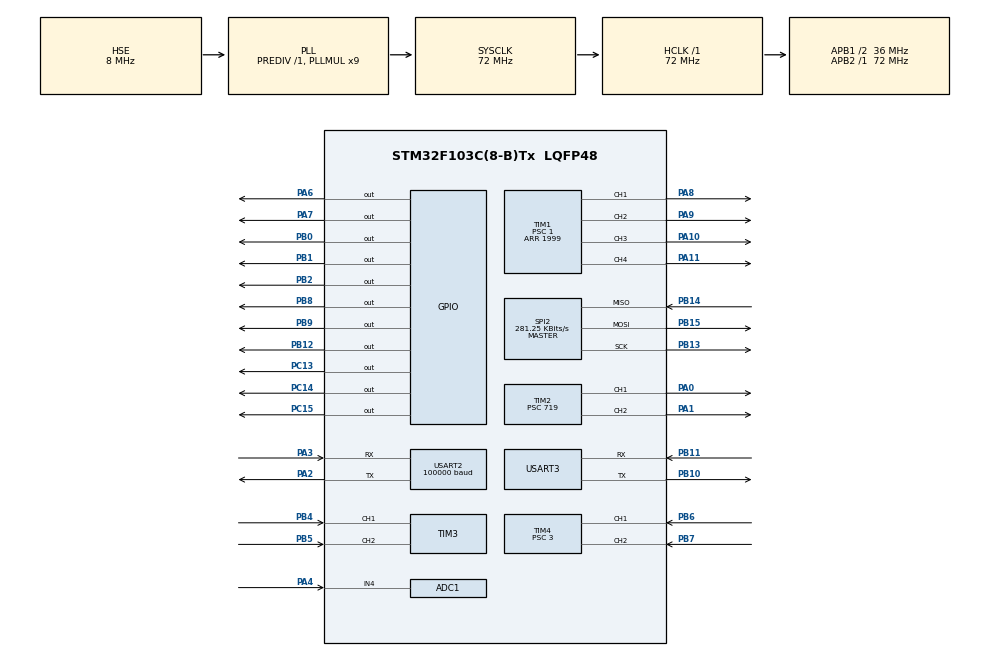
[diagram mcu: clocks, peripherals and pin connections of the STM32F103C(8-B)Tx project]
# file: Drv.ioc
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ADC1.Channel-0\#ChannelRegularConversion=ADC_CHANNEL_4
ADC1.Channel-1\#ChannelRegularConversion=ADC_CHANNEL_TEMPSENSOR
ADC1.ContinuousConvMode=ENABLE
ADC1.DiscontinuousConvMode=DISABLE
ADC1.EnableInjectedConversion=DISABLE
ADC1.NbrOfConversion=2
ADC1.NbrOfConversionFlag=1
ADC1.Rank-0\#ChannelRegularConversion=1
ADC1.Rank-1\#ChannelRegularConversion=2
ADC1.SamplingTime-0\#ChannelRegularConversion=ADC_SAMPLETIME_13CYCLES_5
ADC1.SamplingTime-1\#ChannelRegularConversion=ADC_SAMPLETIME_239CYCLES_5
ADC1.master=1
Dma.ADC1.2.Direction=DMA_PERIPH_TO_MEMORY
Dma.ADC1.2.Instance=DMA1_Channel1
Dma.ADC1.2.MemDataAlignment=DMA_MDATAALIGN_WORD
Dma.ADC1.2.MemInc=DMA_MINC_ENABLE
Dma.ADC1.2.Mode=DMA_CIRCULAR
Dma.ADC1.2.PeriphDataAlignment=DMA_PDATAALIGN_WORD
Dma.ADC1.2.PeriphInc=DMA_PINC_DISABLE
Dma.ADC1.2.Priority=DMA_PRIORITY_LOW
Dma.Request0=USART3_RX
Dma.Request1=USART3_TX
Dma.Request2=ADC1
Dma.Request3=USART2_RX
Dma.USART2_RX.3.Direction=DMA_PERIPH_TO_MEMORY
Dma.USART2_RX.3.Instance=DMA1_Channel6
Dma.USART2_RX.3.MemDataAlignment=DMA_MDATAALIGN_BYTE
Dma.USART2_RX.3.MemInc=DMA_MINC_ENABLE
Dma.USART2_RX.3.Mode=DMA_NORMAL
Dma.USART2_RX.3.PeriphDataAlignment=DMA_PDATAALIGN_BYTE
Dma.USART2_RX.3.PeriphInc=DMA_PINC_DISABLE
Dma.USART2_RX.3.Priority=DMA_PRIORITY_LOW
Dma.USART3_RX.0.Direction=DMA_PERIPH_TO_MEMORY
Dma.USART3_RX.0.Instance=DMA1_Channel3
Dma.USART3_RX.0.MemDataAlignment=DMA_MDATAALIGN_BYTE
Dma.USART3_RX.0.MemInc=DMA_MINC_ENABLE
Dma.USART3_RX.0.Mode=DMA_NORMAL
Dma.USART3_RX.0.PeriphDataAlignment=DMA_PDATAALIGN_BYTE
Dma.USART3_RX.0.PeriphInc=DMA_PINC_DISABLE
Dma.USART3_RX.0.Priority=DMA_PRIORITY_LOW
Dma.USART3_TX.1.Direction=DMA_MEMORY_TO_PERIPH
Dma.USART3_TX.1.Instance=DMA1_Channel2
Dma.USART3_TX.1.MemDataAlignment=DMA_MDATAALIGN_BYTE
Dma.USART3_TX.1.MemInc=DMA_MINC_ENABLE
Dma.USART3_TX.1.Mode=DMA_NORMAL
Dma.USART3_TX.1.PeriphDataAlignment=DMA_PDATAALIGN_BYTE
Dma.USART3_TX.1.PeriphInc=DMA_PINC_DISABLE
Dma.USART3_TX.1.Priority=DMA_PRIORITY_LOW
Mcu.Family=STM32F1
Mcu.Name=STM32F103C(8-B)Tx
Mcu.Package=LQFP48
NVIC.DMA1_Channel1_IRQn=true\:0\:0\:false\:false\:true\:false\:true
NVIC.DMA1_Channel2_IRQn=true\:0\:0\:false\:false\:true\:false\:true
NVIC.DMA1_Channel3_IRQn=true\:0\:0\:false\:false\:true\:false\:true
NVIC.DMA1_Channel6_IRQn=true\:0\:0\:false\:false\:true\:false\:true
NVIC.PriorityGroup=NVIC_PRIORITYGROUP_4
NVIC.TIM1_UP_IRQn=true\:1\:0\:true\:false\:true\:true\:true
NVIC.TIM2_IRQn=true\:0\:0\:false\:false\:true\:true\:true
NVIC.TIM3_IRQn=true\:0\:0\:false\:false\:true\:true\:true
NVIC.TIM4_IRQn=true\:2\:0\:true\:false\:true\:true\:true
NVIC.USART2_IRQn=true\:0\:0\:false\:false\:true\:true\:true
NVIC.USART3_IRQn=true\:0\:0\:false\:false\:true\:true\:true
PA0-WKUP.Signal=S_TIM2_CH1_ETR
PA1.Signal=S_TIM2_CH2
PA10.Signal=S_TIM1_CH3
PA11.Signal=S_TIM1_CH4
PA13.Mode=Trace_Asynchronous_SW
PA13.Signal=SYS_JTMS-SWDIO
PA14.Mode=Trace_Asynchronous_SW
PA14.Signal=SYS_JTCK-SWCLK
PA2.Mode=Asynchronous
PA2.Signal=USART2_TX
PA3.Mode=Asynchronous
PA3.Signal=USART2_RX
PA4.Signal=ADCx_IN4
PA6.Signal=GPIO_Output
PA7.Signal=GPIO_Output
PA8.Signal=S_TIM1_CH1
PA9.Signal=S_TIM1_CH2
PB0.Signal=GPIO_Output
PB1.Signal=GPIO_Output
PB10.Mode=Asynchronous
PB10.Signal=USART3_TX
PB11.Mode=Asynchronous
PB11.Signal=USART3_RX
PB12.GPIO_PuPd=GPIO_PULLUP
PB12.GPIO_Speed=GPIO_SPEED_FREQ_MEDIUM
PB12.PinState=GPIO_PIN_SET
PB12.Signal=GPIO_Output
PB13.Mode=Full_Duplex_Master
PB13.Signal=SPI2_SCK
PB14.Mode=Full_Duplex_Master
PB14.Signal=SPI2_MISO
PB15.Mode=Full_Duplex_Master
PB15.Signal=SPI2_MOSI
PB2.Signal=GPIO_Output
PB3.Mode=Trace_Asynchronous_SW
PB3.Signal=SYS_JTDO-TRACESWO
PB4.Signal=S_TIM3_CH1
PB5.Signal=S_TIM3_CH2
PB6.Signal=S_TIM4_CH1
PB7.Signal=S_TIM4_CH2
PB8.Signal=GPIO_Output
PB9.Signal=GPIO_Output
PC13-TAMPER-RTC.Signal=GPIO_Output
PC14-OSC32_IN.Signal=GPIO_Output
PC15-OSC32_OUT.Signal=GPIO_Output
PD0-OSC_IN.Mode=HSE-External-Oscillator
PD0-OSC_IN.Signal=RCC_OSC_IN
PD1-OSC_OUT.Mode=HSE-External-Oscillator
PD1-OSC_OUT.Signal=RCC_OSC_OUT
ProjectManager.HeapSize=0x200
ProjectManager.StackSize=0x400
ProjectManager.TargetToolchain=MDK-ARM V5
RCC.ADCPresc=RCC_ADCPCLK2_DIV6
RCC.AHBFreq_Value=72000000
RCC.APB1CLKDivider=RCC_HCLK_DIV2
RCC.APB1Freq_Value=36000000
RCC.APB1TimFreq_Value=72000000
RCC.APB2Freq_Value=72000000
RCC.APB2TimFreq_Value=72000000
RCC.HCLKFreq_Value=72000000
RCC.PLLMUL=RCC_PLL_MUL9
RCC.PLLSourceVirtual=RCC_PLLSOURCE_HSE
RCC.SYSCLKFreq_VALUE=72000000
RCC.SYSCLKSource=RCC_SYSCLKSOURCE_PLLCLK
RCC.USBFreq_Value=72000000
SH.ADCx_IN4.0=ADC1_IN4,IN4
SH.S_TIM1_CH1.0=TIM1_CH1,PWM Generation1 CH1
SH.S_TIM1_CH2.0=TIM1_CH2,PWM Generation2 CH2
SH.S_TIM1_CH3.0=TIM1_CH3,PWM Generation3 CH3
SH.S_TIM1_CH4.0=TIM1_CH4,PWM Generation4 CH4
SH.S_TIM2_CH1_ETR.0=TIM2_CH1,PWM Generation1 CH1
SH.S_TIM2_CH2.0=TIM2_CH2,PWM Generation2 CH2
SH.S_TIM3_CH1.0=TIM3_CH1,Encoder_Interface
SH.S_TIM3_CH2.0=TIM3_CH2,Encoder_Interface
SH.S_TIM4_CH1.0=TIM4_CH1,Encoder_Interface
SH.S_TIM4_CH2.0=TIM4_CH2,Encoder_Interface
SPI2.BaudRatePrescaler=SPI_BAUDRATEPRESCALER_128
SPI2.CLKPhase=SPI_PHASE_2EDGE
SPI2.CLKPolarity=SPI_POLARITY_HIGH
SPI2.CalculateBaudRate=281.25 KBits/s
SPI2.Direction=SPI_DIRECTION_2LINES
SPI2.Mode=SPI_MODE_MASTER
SPI2.VirtualType=VM_MASTER
TIM1.AutoReloadPreload=TIM_AUTORELOAD_PRELOAD_ENABLE
TIM1.Channel-PWM\ Generation1\ CH1=TIM_CHANNEL_1
TIM1.Channel-PWM\ Generation2\ CH2=TIM_CHANNEL_2
TIM1.Channel-PWM\ Generation3\ CH3=TIM_CHANNEL_3
TIM1.Channel-PWM\ Generation4\ CH4=TIM_CHANNEL_4
TIM1.Period=1999
TIM1.Prescaler=1
TIM2.Channel-PWM\ Generation1\ CH1=TIM_CHANNEL_1
TIM2.Channel-PWM\ Generation2\ CH2=TIM_CHANNEL_2
TIM2.Period=1999
TIM2.Prescaler=719
TIM2.Pulse-PWM\ Generation1\ CH1=150
TIM2.Pulse-PWM\ Generation2\ CH2=150
TIM4.EncoderMode=TIM_ENCODERMODE_TI12
TIM4.Period=242
TIM4.Prescaler=3
USART2.BaudRate=100000
USART2.Parity=PARITY_EVEN
USART2.StopBits=STOPBITS_2
USART2.VirtualMode=VM_ASYNC
USART2.WordLength=WORDLENGTH_9B
USART3.VirtualMode=VM_ASYNC
VP_ADC1_TempSens_Input.Mode=IN-TempSens
board=custom

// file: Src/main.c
/* USER CODE BEGIN Header */
/**
  ******************************************************************************
  * @file           : main.c
  * @brief          : Main program body
  ******************************************************************************
  * @attention
  *
  * <h2><center>&copy; Copyright (c) 2020 STMicroelectronics.
  * All rights reserved.</center></h2>
  *
  * This software component is licensed by ST under BSD 3-Clause license,
  * the "License"; You may not use this file except in compliance with the
  * License. You may obtain a copy of the License at:
  *                        opensource.org/licenses/BSD-3-Clause
  *
  ******************************************************************************
  */
/* USER CODE END Header */

#include "main.h"

/* USER CODE BEGIN Includes */
#include "stdio.h"
#include "uart.h"
#include "ctrl.h"
#include "TJMst.h"
#include "PS2.h"
/* USER CODE END Includes */

ADC_HandleTypeDef hadc1;
DMA_HandleTypeDef hdma_adc1;

SPI_HandleTypeDef hspi2;

TIM_HandleTypeDef htim1;
TIM_HandleTypeDef htim2;
TIM_HandleTypeDef htim3;
TIM_HandleTypeDef htim4;

UART_HandleTypeDef huart2;
UART_HandleTypeDef huart3;
DMA_HandleTypeDef hdma_usart2_rx;
DMA_HandleTypeDef hdma_usart3_rx;
DMA_HandleTypeDef hdma_usart3_tx;

/* USER CODE BEGIN PV */
uint32_t ADC_VAL[100];
extern SBUS_Pack RX;
/* USER CODE END PV */

void SystemClock_Config(void);
static void MX_GPIO_Init(void);
static void MX_DMA_Init(void);
static void MX_TIM1_Init(void);
static void MX_TIM2_Init(void);
static void MX_TIM3_Init(void);
static void MX_TIM4_Init(void);
static void MX_USART2_UART_Init(void);
static void MX_USART3_UART_Init(void);
static void MX_ADC1_Init(void);
static void MX_SPI2_Init(void);

/* USER CODE BEGIN 0 */
void delay_ms(uint32_t ms){
	uint32_t us = 0;
	for(;ms>0;ms--){
		for(us=0;us<72000;us++){}
	}
}
/* USER CODE END 0 */

int main(void)
{

  /* MCU Configuration--------------------------------------------------------*/

  /* Reset of all peripherals, Initializes the Flash interface and the Systick. */
  HAL_Init();

  /* Configure the system clock */
  SystemClock_Config();

  /* Initialize all configured peripherals */
  MX_GPIO_Init();
  MX_DMA_Init();
  MX_TIM1_Init();
  MX_TIM2_Init();
  MX_TIM3_Init();
  MX_TIM4_Init();
  MX_USART2_UART_Init();
  MX_USART3_UART_Init();
  MX_ADC1_Init();
  MX_SPI2_Init();
  /* USER CODE BEGIN 2 */
	HAL_UART_Receive_DMA(&huart2,RX.raw,25);
	__HAL_UART_ENABLE_IT(&huart2,UART_IT_IDLE);
	HAL_UART_Receive_DMA(&huart3,RX_BUFF,DMA_SIZE);
	__HAL_UART_ENABLE_IT(&huart3,UART_IT_IDLE);
	__HAL_DMA_ENABLE_IT(&hdma_usart3_tx,DMA_IT_TC);
	__HAL_SPI_ENABLE(&hspi2);
	//__HAL_SPI_ENABLE_IT(&hspi2,SPI_IT_RXNE);
	HAL_TIM_Base_Start_IT(&htim1);//main control IT, sys freq = 1KHz.
	HAL_TIM_Base_Start_IT(&htim2);//deck or stepper control IT
	HAL_TIM_Base_Start_IT(&htim3);//encoder update IT
	HAL_TIM_Base_Start_IT(&htim4);//encoder update IT
	HAL_TIM_PWM_Start(&htim1,TIM_CHANNEL_1);//motor
	HAL_TIM_PWM_Start(&htim1,TIM_CHANNEL_2);//motor
	HAL_TIM_PWM_Start(&htim1,TIM_CHANNEL_3);//motor
	HAL_TIM_PWM_Start(&htim1,TIM_CHANNEL_4);//motor
	HAL_TIM_PWM_Start(&htim2,TIM_CHANNEL_1);//deck
	HAL_TIM_PWM_Start(&htim2,TIM_CHANNEL_2);//deck
	HAL_TIM_Encoder_Start(&htim3,TIM_CHANNEL_ALL);//encoder
	HAL_TIM_Encoder_Start(&htim4,TIM_CHANNEL_ALL);//encoder
	HAL_ADC_Start_DMA(&hadc1,ADC_VAL,100);
	LED_R = 1;
	printf("\r\n\r\nDemoCat Online\r\n");
	ctrl_init();
  /* USER CODE END 2 */

  /* Infinite loop */
  /* USER CODE BEGIN WHILE */
	static int remoter_last_sum = 0;
	int remoter_sum = 0;
	int beep_en_cnt = 0;
  while (1)
  {
    /* USER CODE END WHILE */

    /* USER CODE BEGIN 3 */
		remoter_sum = 0;
		remoter_sum += sw_D;
		remoter_sum += sw_E;
		remoter_sum += sw_F;
		remoter_sum += sw_H;

		if(remoter_sum != remoter_last_sum){
			beep_en_cnt += 100;
		}
		remoter_last_sum = remoter_sum;
		if(beep_en_cnt>0){
			beep_en_cnt--;
			Bep_EN = 1;
		}else{
			if(12.6<BAT_Check() && BAT_Check()<14.8){
				Bep_EN = 1;
			}else if(6<BAT_Check() && BAT_Check()<11.1){
				Bep_EN = 1;
			}else{
				Bep_EN = 0;
			}
		}

		if(SW3){
			if(TEMP_Check()<50.0f)SW3=0;
		}else{
			if(TEMP_Check()>53.0f || sw_F)SW3=1;
		}
  }
  /* USER CODE END 3 */
}

void SystemClock_Config(void)
{
  RCC_OscInitTypeDef RCC_OscInitStruct = {0};
  RCC_ClkInitTypeDef RCC_ClkInitStruct = {0};
  RCC_PeriphCLKInitTypeDef PeriphClkInit = {0};

  /** Initializes the CPU, AHB and APB busses clocks
  */
  RCC_OscInitStruct.OscillatorType = RCC_OSCILLATORTYPE_HSE;
  RCC_OscInitStruct.HSEState = RCC_HSE_ON;
  RCC_OscInitStruct.HSEPredivValue = RCC_HSE_PREDIV_DIV1;
  RCC_OscInitStruct.HSIState = RCC_HSI_ON;
  RCC_OscInitStruct.PLL.PLLState = RCC_PLL_ON;
  RCC_OscInitStruct.PLL.PLLSource = RCC_PLLSOURCE_HSE;
  RCC_OscInitStruct.PLL.PLLMUL = RCC_PLL_MUL9;
  if (HAL_RCC_OscConfig(&RCC_OscInitStruct) != HAL_OK)
  {
    Error_Handler();
  }
  /** Initializes the CPU, AHB and APB busses clocks
  */
  RCC_ClkInitStruct.ClockType = RCC_CLOCKTYPE_HCLK|RCC_CLOCKTYPE_SYSCLK
                              |RCC_CLOCKTYPE_PCLK1|RCC_CLOCKTYPE_PCLK2;
  RCC_ClkInitStruct.SYSCLKSource = RCC_SYSCLKSOURCE_PLLCLK;
  RCC_ClkInitStruct.AHBCLKDivider = RCC_SYSCLK_DIV1;
  RCC_ClkInitStruct.APB1CLKDivider = RCC_HCLK_DIV2;
  RCC_ClkInitStruct.APB2CLKDivider = RCC_HCLK_DIV1;

  if (HAL_RCC_ClockConfig(&RCC_ClkInitStruct, FLASH_LATENCY_2) != HAL_OK)
  {
    Error_Handler();
  }
  PeriphClkInit.PeriphClockSelection = RCC_PERIPHCLK_ADC;
  PeriphClkInit.AdcClockSelection = RCC_ADCPCLK2_DIV6;
  if (HAL_RCCEx_PeriphCLKConfig(&PeriphClkInit) != HAL_OK)
  {
    Error_Handler();
  }
}

static void MX_ADC1_Init(void)
{

  ADC_ChannelConfTypeDef sConfig = {0};

  /** Common config
  */
  hadc1.Instance = ADC1;
  hadc1.Init.ScanConvMode = ADC_SCAN_ENABLE;
  hadc1.Init.ContinuousConvMode = ENABLE;
  hadc1.Init.DiscontinuousConvMode = DISABLE;
  hadc1.Init.ExternalTrigConv = ADC_SOFTWARE_START;
  hadc1.Init.DataAlign = ADC_DATAALIGN_RIGHT;
  hadc1.Init.NbrOfConversion = 2;
  if (HAL_ADC_Init(&hadc1) != HAL_OK)
  {
    Error_Handler();
  }
  /** Configure Regular Channel
  */
  sConfig.Channel = ADC_CHANNEL_4;
  sConfig.Rank = ADC_REGULAR_RANK_1;
  sConfig.SamplingTime = ADC_SAMPLETIME_13CYCLES_5;
  if (HAL_ADC_ConfigChannel(&hadc1, &sConfig) != HAL_OK)
  {
    Error_Handler();
  }
  /** Configure Regular Channel
  */
  sConfig.Channel = ADC_CHANNEL_TEMPSENSOR;
  sConfig.Rank = ADC_REGULAR_RANK_2;
  sConfig.SamplingTime = ADC_SAMPLETIME_239CYCLES_5;
  if (HAL_ADC_ConfigChannel(&hadc1, &sConfig) != HAL_OK)
  {
    Error_Handler();
  }

}

static void MX_SPI2_Init(void)
{

  /* SPI2 parameter configuration*/
  hspi2.Instance = SPI2;
  hspi2.Init.Mode = SPI_MODE_MASTER;
  hspi2.Init.Direction = SPI_DIRECTION_2LINES;
  hspi2.Init.DataSize = SPI_DATASIZE_8BIT;
  hspi2.Init.CLKPolarity = SPI_POLARITY_HIGH;
  hspi2.Init.CLKPhase = SPI_PHASE_2EDGE;
  hspi2.Init.NSS = SPI_NSS_SOFT;
  hspi2.Init.BaudRatePrescaler = SPI_BAUDRATEPRESCALER_128;
  hspi2.Init.FirstBit = SPI_FIRSTBIT_MSB;
  hspi2.Init.TIMode = SPI_TIMODE_DISABLE;
  hspi2.Init.CRCCalculation = SPI_CRCCALCULATION_DISABLE;
  hspi2.Init.CRCPolynomial = 10;
  if (HAL_SPI_Init(&hspi2) != HAL_OK)
  {
    Error_Handler();
  }

}

static void MX_TIM1_Init(void)
{

  TIM_MasterConfigTypeDef sMasterConfig = {0};
  TIM_OC_InitTypeDef sConfigOC = {0};
  TIM_BreakDeadTimeConfigTypeDef sBreakDeadTimeConfig = {0};

  htim1.Instance = TIM1;
  htim1.Init.Prescaler = 1;
  htim1.Init.CounterMode = TIM_COUNTERMODE_UP;
  htim1.Init.Period = 1999;
  htim1.Init.ClockDivision = TIM_CLOCKDIVISION_DIV1;
  htim1.Init.RepetitionCounter = 0;
  htim1.Init.AutoReloadPreload = TIM_AUTORELOAD_PRELOAD_ENABLE;
  if (HAL_TIM_PWM_Init(&htim1) != HAL_OK)
  {
    Error_Handler();
  }
  sMasterConfig.MasterOutputTrigger = TIM_TRGO_RESET;
  sMasterConfig.MasterSlaveMode = TIM_MASTERSLAVEMODE_DISABLE;
  if (HAL_TIMEx_MasterConfigSynchronization(&htim1, &sMasterConfig) != HAL_OK)
  {
    Error_Handler();
  }
  sConfigOC.OCMode = TIM_OCMODE_PWM1;
  sConfigOC.Pulse = 0;
  sConfigOC.OCPolarity = TIM_OCPOLARITY_HIGH;
  sConfigOC.OCNPolarity = TIM_OCNPOLARITY_HIGH;
  sConfigOC.OCFastMode = TIM_OCFAST_DISABLE;
  sConfigOC.OCIdleState = TIM_OCIDLESTATE_RESET;
  sConfigOC.OCNIdleState = TIM_OCNIDLESTATE_RESET;
  if (HAL_TIM_PWM_ConfigChannel(&htim1, &sConfigOC, TIM_CHANNEL_1) != HAL_OK)
  {
    Error_Handler();
  }
  if (HAL_TIM_PWM_ConfigChannel(&htim1, &sConfigOC, TIM_CHANNEL_2) != HAL_OK)
  {
    Error_Handler();
  }
  if (HAL_TIM_PWM_ConfigChannel(&htim1, &sConfigOC, TIM_CHANNEL_3) != HAL_OK)
  {
    Error_Handler();
  }
  if (HAL_TIM_PWM_ConfigChannel(&htim1, &sConfigOC, TIM_CHANNEL_4) != HAL_OK)
  {
    Error_Handler();
  }
  sBreakDeadTimeConfig.OffStateRunMode = TIM_OSSR_DISABLE;
  sBreakDeadTimeConfig.OffStateIDLEMode = TIM_OSSI_DISABLE;
  sBreakDeadTimeConfig.LockLevel = TIM_LOCKLEVEL_OFF;
  sBreakDeadTimeConfig.DeadTime = 0;
  sBreakDeadTimeConfig.BreakState = TIM_BREAK_DISABLE;
  sBreakDeadTimeConfig.BreakPolarity = TIM_BREAKPOLARITY_HIGH;
  sBreakDeadTimeConfig.AutomaticOutput = TIM_AUTOMATICOUTPUT_DISABLE;
  if (HAL_TIMEx_ConfigBreakDeadTime(&htim1, &sBreakDeadTimeConfig) != HAL_OK)
  {
    Error_Handler();
  }
  HAL_TIM_MspPostInit(&htim1);

}

static void MX_TIM2_Init(void)
{

  TIM_MasterConfigTypeDef sMasterConfig = {0};
  TIM_OC_InitTypeDef sConfigOC = {0};

  htim2.Instance = TIM2;
  htim2.Init.Prescaler = 719;
  htim2.Init.CounterMode = TIM_COUNTERMODE_UP;
  htim2.Init.Period = 1999;
  htim2.Init.ClockDivision = TIM_CLOCKDIVISION_DIV1;
  htim2.Init.AutoReloadPreload = TIM_AUTORELOAD_PRELOAD_DISABLE;
  if (HAL_TIM_PWM_Init(&htim2) != HAL_OK)
  {
    Error_Handler();
  }
  sMasterConfig.MasterOutputTrigger = TIM_TRGO_RESET;
  sMasterConfig.MasterSlaveMode = TIM_MASTERSLAVEMODE_DISABLE;
  if (HAL_TIMEx_MasterConfigSynchronization(&htim2, &sMasterConfig) != HAL_OK)
  {
    Error_Handler();
  }
  sConfigOC.OCMode = TIM_OCMODE_PWM1;
  sConfigOC.Pulse = 150;
  sConfigOC.OCPolarity = TIM_OCPOLARITY_HIGH;
  sConfigOC.OCFastMode = TIM_OCFAST_DISABLE;
  if (HAL_TIM_PWM_ConfigChannel(&htim2, &sConfigOC, TIM_CHANNEL_1) != HAL_OK)
  {
    Error_Handler();
  }
  if (HAL_TIM_PWM_ConfigChannel(&htim2, &sConfigOC, TIM_CHANNEL_2) != HAL_OK)
  {
    Error_Handler();
  }
  HAL_TIM_MspPostInit(&htim2);

}

static void MX_TIM3_Init(void)
{

  TIM_Encoder_InitTypeDef sConfig = {0};
  TIM_MasterConfigTypeDef sMasterConfig = {0};

  htim3.Instance = TIM3;
  htim3.Init.Prescaler = 0;
  htim3.Init.CounterMode = TIM_COUNTERMODE_UP;
  htim3.Init.Period = 0;
  htim3.Init.ClockDivision = TIM_CLOCKDIVISION_DIV1;
  htim3.Init.AutoReloadPreload = TIM_AUTORELOAD_PRELOAD_DISABLE;
  sConfig.EncoderMode = TIM_ENCODERMODE_TI1;
  sConfig.IC1Polarity = TIM_ICPOLARITY_RISING;
  sConfig.IC1Selection = TIM_ICSELECTION_DIRECTTI;
  sConfig.IC1Prescaler = TIM_ICPSC_DIV1;
  sConfig.IC1Filter = 0;
  sConfig.IC2Polarity = TIM_ICPOLARITY_RISING;
  sConfig.IC2Selection = TIM_ICSELECTION_DIRECTTI;
  sConfig.IC2Prescaler = TIM_ICPSC_DIV1;
  sConfig.IC2Filter = 0;
  if (HAL_TIM_Encoder_Init(&htim3, &sConfig) != HAL_OK)
  {
    Error_Handler();
  }
  sMasterConfig.MasterOutputTrigger = TIM_TRGO_RESET;
  sMasterConfig.MasterSlaveMode = TIM_MASTERSLAVEMODE_DISABLE;
  if (HAL_TIMEx_MasterConfigSynchronization(&htim3, &sMasterConfig) != HAL_OK)
  {
    Error_Handler();
  }

}

static void MX_TIM4_Init(void)
{

  TIM_Encoder_InitTypeDef sConfig = {0};
  TIM_MasterConfigTypeDef sMasterConfig = {0};

  htim4.Instance = TIM4;
  htim4.Init.Prescaler = 3;
  htim4.Init.CounterMode = TIM_COUNTERMODE_UP;
  htim4.Init.Period = 242;
  htim4.Init.ClockDivision = TIM_CLOCKDIVISION_DIV1;
  htim4.Init.AutoReloadPreload = TIM_AUTORELOAD_PRELOAD_DISABLE;
  sConfig.EncoderMode = TIM_ENCODERMODE_TI12;
  sConfig.IC1Polarity = TIM_ICPOLARITY_RISING;
  sConfig.IC1Selection = TIM_ICSELECTION_DIRECTTI;
  sConfig.IC1Prescaler = TIM_ICPSC_DIV1;
  sConfig.IC1Filter = 0;
  sConfig.IC2Polarity = TIM_ICPOLARITY_RISING;
  sConfig.IC2Selection = TIM_ICSELECTION_DIRECTTI;
  sConfig.IC2Prescaler = TIM_ICPSC_DIV1;
  sConfig.IC2Filter = 0;
  if (HAL_TIM_Encoder_Init(&htim4, &sConfig) != HAL_OK)
  {
    Error_Handler();
  }
  sMasterConfig.MasterOutputTrigger = TIM_TRGO_RESET;
  sMasterConfig.MasterSlaveMode = TIM_MASTERSLAVEMODE_DISABLE;
  if (HAL_TIMEx_MasterConfigSynchronization(&htim4, &sMasterConfig) != HAL_OK)
  {
    Error_Handler();
  }
  /* USER CODE BEGIN TIM4_Init 2 */
	TIM4->CNT = 121;
  /* USER CODE END TIM4_Init 2 */

}

static void MX_USART2_UART_Init(void)
{

  huart2.Instance = USART2;
  huart2.Init.BaudRate = 100000;
  huart2.Init.WordLength = UART_WORDLENGTH_9B;
  huart2.Init.StopBits = UART_STOPBITS_2;
  huart2.Init.Parity = UART_PARITY_EVEN;
  huart2.Init.Mode = UART_MODE_TX_RX;
  huart2.Init.HwFlowCtl = UART_HWCONTROL_NONE;
  huart2.Init.OverSampling = UART_OVERSAMPLING_16;
  if (HAL_UART_Init(&huart2) != HAL_OK)
  {
    Error_Handler();
  }

}

static void MX_USART3_UART_Init(void)
{

  huart3.Instance = USART3;
  huart3.Init.BaudRate = 115200;
  huart3.Init.WordLength = UART_WORDLENGTH_8B;
  huart3.Init.StopBits = UART_STOPBITS_1;
  huart3.Init.Parity = UART_PARITY_NONE;
  huart3.Init.Mode = UART_MODE_TX_RX;
  huart3.Init.HwFlowCtl = UART_HWCONTROL_NONE;
  huart3.Init.OverSampling = UART_OVERSAMPLING_16;
  if (HAL_UART_Init(&huart3) != HAL_OK)
  {
    Error_Handler();
  }

}

static void MX_DMA_Init(void)
{

  /* DMA controller clock enable */
  __HAL_RCC_DMA1_CLK_ENABLE();

  /* DMA interrupt init */
  /* DMA1_Channel1_IRQn interrupt configuration */
  HAL_NVIC_SetPriority(DMA1_Channel1_IRQn, 0, 0);
  HAL_NVIC_EnableIRQ(DMA1_Channel1_IRQn);
  /* DMA1_Channel2_IRQn interrupt configuration */
  HAL_NVIC_SetPriority(DMA1_Channel2_IRQn, 0, 0);
  HAL_NVIC_EnableIRQ(DMA1_Channel2_IRQn);
  /* DMA1_Channel3_IRQn interrupt configuration */
  HAL_NVIC_SetPriority(DMA1_Channel3_IRQn, 0, 0);
  HAL_NVIC_EnableIRQ(DMA1_Channel3_IRQn);
  /* DMA1_Channel6_IRQn interrupt configuration */
  HAL_NVIC_SetPriority(DMA1_Channel6_IRQn, 0, 0);
  HAL_NVIC_EnableIRQ(DMA1_Channel6_IRQn);

}

static void MX_GPIO_Init(void)
{
  GPIO_InitTypeDef GPIO_InitStruct = {0};

  /* GPIO Ports Clock Enable */
  __HAL_RCC_GPIOC_CLK_ENABLE();
  __HAL_RCC_GPIOD_CLK_ENABLE();
  __HAL_RCC_GPIOA_CLK_ENABLE();
  __HAL_RCC_GPIOB_CLK_ENABLE();

  /*Configure GPIO pin Output Level */
  HAL_GPIO_WritePin(GPIOC, GPIO_PIN_13|GPIO_PIN_14|GPIO_PIN_15, GPIO_PIN_RESET);

  /*Configure GPIO pin Output Level */
  HAL_GPIO_WritePin(GPIOA, GPIO_PIN_6|GPIO_PIN_7, GPIO_PIN_RESET);

  /*Configure GPIO pin Output Level */
  HAL_GPIO_WritePin(GPIOB, GPIO_PIN_0|GPIO_PIN_1|GPIO_PIN_2|GPIO_PIN_8
                          |GPIO_PIN_9, GPIO_PIN_RESET);

  /*Configure GPIO pin Output Level */
  HAL_GPIO_WritePin(GPIOB, GPIO_PIN_12, GPIO_PIN_SET);

  /*Configure GPIO pins : PC13 PC14 PC15 */
  GPIO_InitStruct.Pin = GPIO_PIN_13|GPIO_PIN_14|GPIO_PIN_15;
  GPIO_InitStruct.Mode = GPIO_MODE_OUTPUT_PP;
  GPIO_InitStruct.Pull = GPIO_NOPULL;
  GPIO_InitStruct.Speed = GPIO_SPEED_FREQ_LOW;
  HAL_GPIO_Init(GPIOC, &GPIO_InitStruct);

  /*Configure GPIO pins : PA6 PA7 */
  GPIO_InitStruct.Pin = GPIO_PIN_6|GPIO_PIN_7;
  GPIO_InitStruct.Mode = GPIO_MODE_OUTPUT_PP;
  GPIO_InitStruct.Pull = GPIO_NOPULL;
  GPIO_InitStruct.Speed = GPIO_SPEED_FREQ_LOW;
  HAL_GPIO_Init(GPIOA, &GPIO_InitStruct);

  /*Configure GPIO pins : PB0 PB1 PB2 PB8
                           PB9 */
  GPIO_InitStruct.Pin = GPIO_PIN_0|GPIO_PIN_1|GPIO_PIN_2|GPIO_PIN_8
                          |GPIO_PIN_9;
  GPIO_InitStruct.Mode = GPIO_MODE_OUTPUT_PP;
  GPIO_InitStruct.Pull = GPIO_NOPULL;
  GPIO_InitStruct.Speed = GPIO_SPEED_FREQ_LOW;
  HAL_GPIO_Init(GPIOB, &GPIO_InitStruct);

  /*Configure GPIO pin : PB12 */
  GPIO_InitStruct.Pin = GPIO_PIN_12;
  GPIO_InitStruct.Mode = GPIO_MODE_OUTPUT_PP;
  GPIO_InitStruct.Pull = GPIO_PULLUP;
  GPIO_InitStruct.Speed = GPIO_SPEED_FREQ_MEDIUM;
  HAL_GPIO_Init(GPIOB, &GPIO_InitStruct);

}

void Error_Handler(void)
{
  /* USER CODE BEGIN Error_Handler_Debug */
  /* User can add his own implementation to report the HAL error return state */
	LED_G = 1;
	printf("[ERR]\r\n");
	TIM1->CCR1 = 0;
	TIM1->CCR2 = 0;
	TIM1->CCR3 = 0;
	TIM1->CCR4 = 0;
	while(1);
  /* USER CODE END Error_Handler_Debug */
}

/************************ (C) COPYRIGHT STMicroelectronics *****END OF FILE****/
